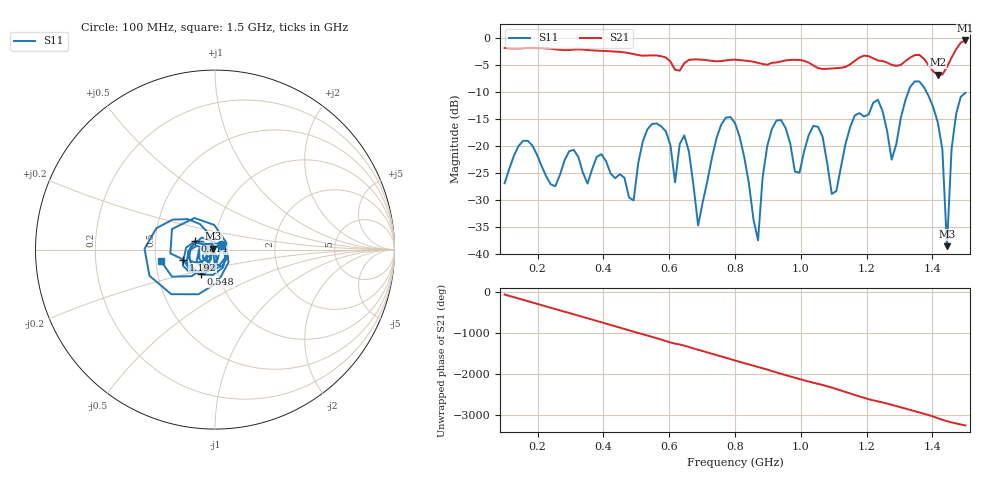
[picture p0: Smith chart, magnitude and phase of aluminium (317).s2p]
! NanoVNA-App
! Date: 2025-09-25 14:57:45
! Start: 100MHz Stop: 1,5GHz Points: 101
! S-Parameter data: F S11 S21 S12 S22
# Hz S RI R 50
!  Frequency  S11_Real  S11_Imag  S21_Real  S21_Imag  S12_Real  S12_Imag  S22_Real  S22_Imag
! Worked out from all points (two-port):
!   101 points, 100 MHz to 1.5 GHz, reference 50 ohm
!   highest |S21| = -0.54 dB at 1.5 GHz (marker M1); lowest = -6.9 dB at 1.416 GHz (marker M2)
!   |S21| within 3 dB of the highest: start of sweep to 580.8 MHz; 1.46 GHz to end of sweep (the widest 2 of 4)
!   lowest |S11| = -38.6 dB at 1.444 GHz (marker M3), VSWR 1.02, Z = 49 + j0.581 ohm
!   |S11| at or under -10 dB: start of sweep to 1.327 GHz; 1.381 GHz to end of sweep
!   S12 and S22 are empty: the file has one direction only
!   S11 on the Smith chart (normalised r, x): 100 MHz: 1.07, +0.06; 548 MHz: 0.82, -0.23; 814 MHz: 0.80, +0.07; 1.192 GHz: 0.69, -0.08; 1.5 GHz: 0.53, -0.08
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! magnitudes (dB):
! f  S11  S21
! 100 MHz  -27.0  -1.9
! 338 MHz  -25.0  -2.2
! 492 MHz  -30.1  -3.1
! 548 MHz  -16.0  -3.3
! 576 MHz  -16.4  -3.5
! 618 MHz  -26.8  -6.0
! 646 MHz  -18.1  -4.7
! 688 MHz  -34.8  -4.1
! 800 MHz  -15.8  -4.1
! 814 MHz  -18.3  -4.2
! 870 MHz  -37.5  -4.7
! 912 MHz  -16.9  -4.7
! 996 MHz  -25.0  -4.1
! 1.038 GHz  -16.3  -5.2
! 1.094 GHz  -28.9  -5.7
! 1.192 GHz  -14.6  -3.4
! 1.276 GHz  -22.6  -5.1
! 1.346 GHz  -8.1  -3.3
! 1.416 GHz  -15.7  -6.9
! 1.444 GHz  -38.6  -5.5
! 1.458 GHz  -20.6  -3.7
! 1.5 GHz  -10.2  -0.5
